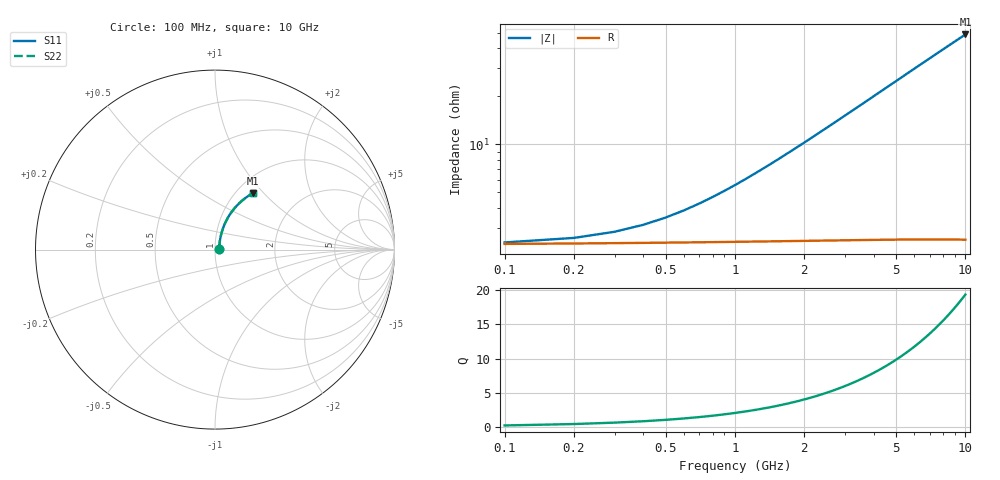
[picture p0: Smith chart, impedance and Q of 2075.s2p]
# Hz S RI R 50.00
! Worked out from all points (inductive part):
!   100 points, 100 MHz to 10 GHz, reference 50 ohm
!   read as one part in series: L = 792 pH near 1.5 GHz
!   highest Q = 19.4 at 10 GHz (marker M1), where L = 776 pH
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1e8  0.0232 0.00404  0.9768 -0.00546  0.9768 -0.00546  0.0232 0.00404
2e8  0.0234 0.00808  0.9766 -0.0109  0.9766 -0.0109  0.0234 0.00808
3e8  0.0236 0.0121  0.9764 -0.0164  0.9764 -0.0164  0.0236 0.0121
4e8  0.0238 0.0161  0.9761 -0.0218  0.9761 -0.0218  0.0238 0.0161
8e8  0.0252 0.0322  0.9747 -0.0436  0.9747 -0.0436  0.0252 0.0322
1.1e9  0.0266 0.0442  0.9732 -0.0599  0.9732 -0.0599  0.0266 0.0442
1.4e9  0.0284 0.0561  0.9714 -0.0761  0.9714 -0.0761  0.0284 0.0561
1.6e9  0.0298 0.0641  0.9699 -0.0869  0.9699 -0.0869  0.0298 0.0641
1.8e9  0.0314 0.0719  0.9682 -0.0976  0.9682 -0.0976  0.0314 0.0719
2.1e9  0.0341 0.0836  0.9654 -0.1136  0.9654 -0.1136  0.0341 0.0836
2.5e9  0.0383 0.0991  0.9611 -0.1347  0.9611 -0.1347  0.0383 0.0991
2.9e9  0.0431 0.1142  0.956 -0.1556  0.956 -0.1556  0.0431 0.1142
3.4e9  0.05 0.1328  0.9488 -0.1813  0.9488 -0.1813  0.05 0.1328
3.8e9  0.0562 0.1473  0.9422 -0.2016  0.9422 -0.2016  0.0562 0.1473
4.2e9  0.063 0.1614  0.9351 -0.2214  0.9351 -0.2214  0.063 0.1614
4.6e9  0.0704 0.1752  0.9273 -0.2409  0.9273 -0.2409  0.0704 0.1752
5.1e9  0.0804 0.1918  0.9168 -0.2647  0.9168 -0.2647  0.0804 0.1918
5.9e9  0.098 0.217  0.8983 -0.3013  0.8983 -0.3013  0.098 0.217
6.7e9  0.1174 0.2402  0.8779 -0.3361  0.8779 -0.3361  0.1174 0.2402
7.5e9  0.1383 0.2614  0.8557 -0.3689  0.8557 -0.3689  0.1383 0.2614
8.4e9  0.1634 0.2827  0.8292 -0.4032  0.8292 -0.4032  0.1634 0.2827
1e10  0.2108 0.3138  0.7785 -0.4576  0.7785 -0.4576  0.2108 0.3138
